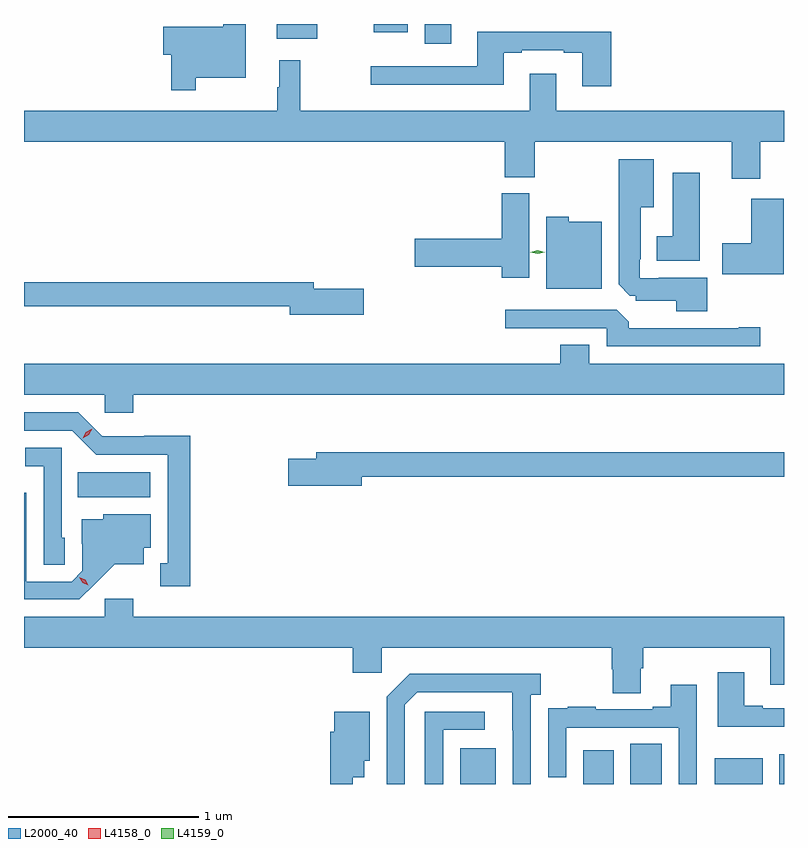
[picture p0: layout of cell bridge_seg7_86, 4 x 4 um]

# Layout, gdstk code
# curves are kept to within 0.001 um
import gdstk
lib = gdstk.Library(unit=1e-6, precision=1e-09)
def R(c, l, rs):  # rectangles x0, y0, x1, y1
    for r in rs: c.add(gdstk.rectangle(r[:2], r[2:], *l))
def P(c, l, *ps):  # polygons
    for p in ps: c.add(gdstk.Polygon(p, *l))
L2000_40 = (2000, 40)
L4158_0 = (4158, 0)
L4159_0 = (4159, 0)

bridge_seg7_86 = lib.new_cell('bridge_seg7_86')
R(bridge_seg7_86, L2000_40, [(1033.151,998.568,1033.339,998.755), (1033.799,998.568,1033.96,998.746), (1034.048,998.568,1034.212,998.78), (1034.492,998.568,1034.743,998.704), (1034.831,998.568,1034.856,998.725), (1031.14,1000.076,1031.521,1000.21), (1032.965,1002.465,1033.105,1002.568), (1032.185,1002.491,1032.4,1002.568), (1032.698,1002.524,1032.877,1002.568)])
P(bridge_seg7_86, L2000_40, [(1031.761,1002.284),(1032.022,1002.284),(1032.022,1002.568),(1031.905,1002.568),(1031.905,1002.553),(1031.588,1002.553),(1031.588,1002.406),(1031.632,1002.406),(1031.632,1002.219),(1031.761,1002.219)],
  [(1033.946,1002.526),(1033.241,1002.526),(1033.241,1002.345),(1032.68,1002.345),(1032.68,1002.248),(1033.381,1002.248),(1033.381,1002.417),(1033.477,1002.417),(1033.477,1002.429),(1033.697,1002.429),(1033.697,1002.417),(1033.793,1002.417),(1033.793,1002.24),(1033.946,1002.24)],
  [(1034.73,1001.948),(1034.856,1001.948),(1034.856,1002.112),(1033.657,1002.112),(1033.657,1002.307),(1033.517,1002.307),(1033.517,1002.112),(1032.31,1002.112),(1032.31,1002.376),(1032.2,1002.376),(1032.2,1002.236),(1032.189,1002.236),(1032.189,1002.112),(1030.856,1002.112),(1030.856,1001.948),(1033.385,1001.948),(1033.385,1001.761),(1033.545,1001.761),(1033.545,1001.948),(1034.582,1001.948),(1034.582,1001.754),(1034.73,1001.754)],
  [(1034.452,1001.233),(1034.197,1001.233),(1034.197,1001.229),(1034.097,1001.229),(1034.097,1001.329),(1034.101,1001.329),(1034.101,1001.603),(1034.17,1001.603),(1034.17,1001.857),(1033.985,1001.857),(1033.985,1001.199),(1034.045,1001.139),(1034.076,1001.139),(1034.076,1001.111),(1034.288,1001.111),(1034.288,1001.057),(1034.452,1001.057)],
  [(1034.413,1001.785),(1034.27,1001.785),(1034.27,1001.452),(1034.186,1001.452),(1034.186,1001.321),(1034.413,1001.321)],
  [(1033.516,1001.676),(1033.37,1001.676),(1033.37,1001.438),(1032.912,1001.438),(1032.912,1001.291),(1033.37,1001.291),(1033.37,1001.232),(1033.516,1001.232)],
  [(1034.854,1001.647),(1034.684,1001.647),(1034.684,1001.415),(1034.532,1001.415),(1034.532,1001.252),(1034.854,1001.252)],
  [(1033.897,1001.527),(1033.722,1001.527),(1033.722,1001.554),(1033.604,1001.554),(1033.604,1001.174),(1033.897,1001.174)],
  [(1032.643,1001.174),(1032.382,1001.174),(1032.382,1001.21),(1030.856,1001.21),(1030.856,1001.082),(1032.254,1001.082),(1032.254,1001.039),(1032.643,1001.039)],
  [(1034.731,1000.973),(1034.618,1000.973),(1034.618,1000.968),(1034.039,1000.968),(1034.039,1001.002),(1033.977,1001.064),(1033.389,1001.064),(1033.389,1000.968),(1033.923,1000.968),(1033.923,1000.872),(1034.731,1000.872)],
  [(1031.432,1000.616),(1034.856,1000.616),(1034.856,1000.78),(1033.831,1000.78),(1033.831,1000.879),(1033.679,1000.879),(1033.679,1000.78),(1030.856,1000.78),(1030.856,1000.616),(1031.28,1000.616),(1031.28,1000.523),(1031.432,1000.523)],
  [(1031.731,1000.4),(1031.49,1000.4),(1031.49,1000.398),(1031.268,1000.398),(1031.142,1000.524),(1030.856,1000.524),(1030.856,1000.428),(1031.109,1000.428),(1031.235,1000.302),(1031.612,1000.302),(1031.612,999.729),(1031.573,999.729),(1031.573,999.609),(1031.731,999.609)],
  [(1031.07,999.864),(1031.055,999.864),(1031.055,1000.338),(1030.863,1000.338),(1030.863,1000.241),(1030.959,1000.241),(1030.959,999.721),(1031.07,999.721)],
  [(1032.634,1000.186),(1034.856,1000.186),(1034.856,1000.315),(1032.395,1000.315),(1032.395,1000.281),(1032.246,1000.281),(1032.246,1000.139),(1032.634,1000.139)],
  [(1031.23,999.623),(1031.333,999.725),(1031.485,999.725),(1031.485,999.812),(1031.524,999.812),(1031.524,999.988),(1031.274,999.988),(1031.274,999.961),(1031.159,999.961),(1031.159,999.832),(1031.163,999.832),(1031.163,999.69),(1031.106,999.633),(1030.869,999.633),(1030.869,1000.1),(1030.856,1000.1),(1030.856,999.54),(1031.146,999.54)],
  [(1034.101,999.178),(1034.114,999.178),(1034.114,999.284),(1034.783,999.284),(1034.783,999.09),(1034.856,999.09),(1034.856,999.448),(1031.432,999.448),(1031.432,999.544),(1031.28,999.544),(1031.28,999.448),(1030.856,999.448),(1030.856,999.284),(1032.587,999.284),(1032.587,999.153),(1032.738,999.153),(1032.738,999.284),(1033.949,999.284),(1033.949,999.171),(1033.954,999.171),(1033.954,999.046),(1034.101,999.046)],
  [(1034.856,998.967),(1034.743,998.967),(1034.743,998.98),(1034.647,998.98),(1034.647,999.157),(1034.507,999.157),(1034.507,998.87),(1034.856,998.87)],
  [(1032.861,998.985),(1032.927,999.051),(1033.427,999.051),(1033.428,998.568),(1033.524,998.568),(1033.524,999.038),(1033.576,999.038),(1033.576,999.148),(1032.886,999.148),(1032.765,999.027),(1032.765,998.568),(1032.861,998.568)],
  [(1034.397,999.091),(1034.261,999.091),(1034.261,998.974),(1034.165,998.974),(1034.165,998.961),(1033.865,998.961),(1033.865,998.974),(1033.717,998.974),(1033.717,998.967),(1033.615,998.967),(1033.615,998.858),(1033.614,998.858),(1033.614,998.604),(1033.71,998.604),(1033.71,998.865),(1034.301,998.865),(1034.301,998.568),(1034.397,998.568)],
  [(1033.062,998.853),(1033.282,998.853),(1033.282,998.949),(1032.966,998.949),(1032.966,998.568),(1033.062,998.568)],
  [(1032.587,998.603),(1032.646,998.603),(1032.646,998.69),(1032.676,998.69),(1032.676,998.947),(1032.488,998.947),(1032.488,998.843),(1032.469,998.843),(1032.469,998.568),(1032.587,998.568)])
P(bridge_seg7_86, L4158_0, [(1031.164,1000.387),(1031.164,1000.387),(1031.182,1000.419),(1031.214,1000.438),(1031.214,1000.438),(1031.214,1000.437),(1031.196,1000.405),(1031.164,1000.387)],
  [(1031.195,999.613),(1031.164,999.627),(1031.147,999.657),(1031.147,999.657),(1031.147,999.657),(1031.178,999.642),(1031.195,999.613),(1031.195,999.613)])
P(bridge_seg7_86, L4159_0, [(1033.559,1001.358),(1033.521,1001.368),(1033.521,1001.368),(1033.521,1001.368),(1033.559,1001.378),(1033.597,1001.368),(1033.597,1001.368),(1033.597,1001.368)])

lib.write_gds('bridge_seg7_86.gds')
